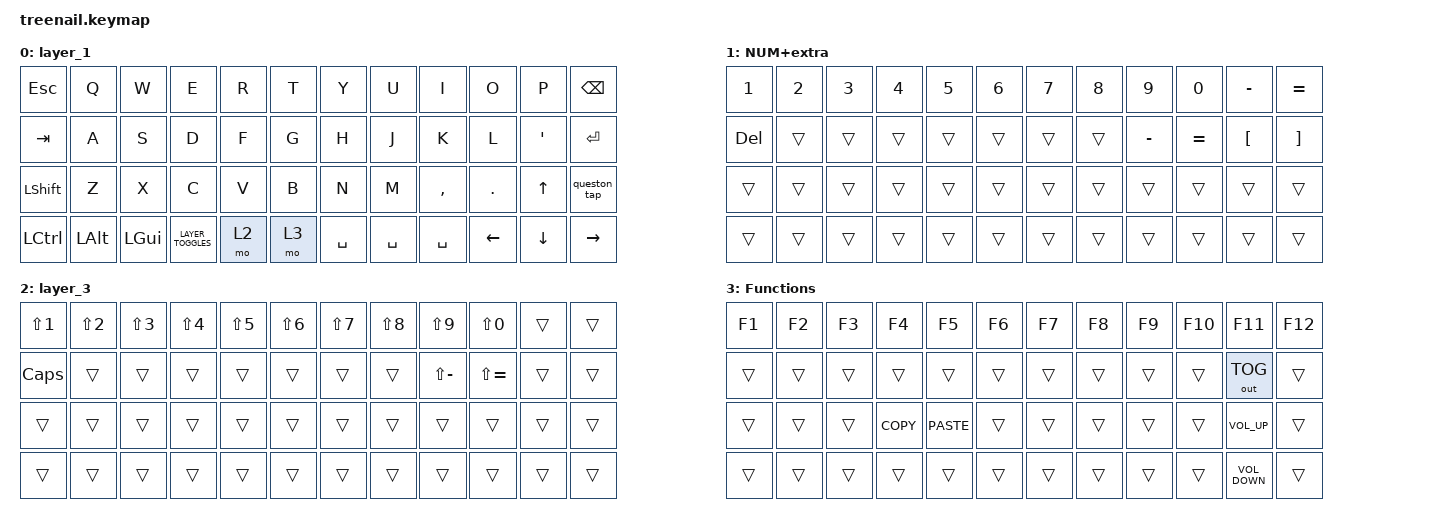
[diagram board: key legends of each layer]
#include <behaviors.dtsi>
#include <dt-bindings/zmk/keys.h>
#include <dt-bindings/zmk/outputs.h>

/ {
    combos {
        compatible = "zmk,combos";

        BOOTLDR {
            bindings = <&bootloader>;
            key-positions = <39 40 41 11>;
        };

        RESET_K {
            bindings = <&sys_reset>;
            key-positions = <39 40 41 23>;
        };

        OFFPWR {
            bindings = <&soft_off>;
            key-positions = <39 40 41 35>;
        };
    };

    behaviors {
        queston_tap: queston_tap {
            compatible = "zmk,behavior-tap-dance";
            label = "QUESTON_TAP";
            #binding-cells = <0>;
            bindings = <&kp SLASH>, <&kp LS(SLASH)>, <&kp RIGHT_SHIFT>;
        };

        LAYER_TOGGLES: LAYER_TOGGLES {
            compatible = "zmk,behavior-tap-dance";
            label = "LAYER_TOGGLES";
            #binding-cells = <0>;
            bindings = <&mo 1>, <&tog 1>;
        };
    };

    keymap {
        compatible = "zmk,keymap";

        layer_1 {
            bindings = <
&kp ESCAPE  &kp Q     &kp W     &kp E           &kp R  &kp T  &kp Y      &kp U      &kp I      &kp O     &kp P     &kp BSPC
&kp TAB     &kp A     &kp S     &kp D           &kp F  &kp G  &kp H      &kp J      &kp K      &kp L     &kp SQT   &kp RET
&kp LSHFT   &kp Z     &kp X     &kp C           &kp V  &kp B  &kp N      &kp M      &kp COMMA  &kp DOT   &kp UP    &queston_tap
&kp LCTRL   &kp LALT  &kp LGUI  &LAYER_TOGGLES  &mo 2  &mo 3  &kp SPACE  &kp SPACE  &kp SPACE  &kp LEFT  &kp DOWN  &kp RIGHT
            >;
        };

        NUM+extra {
            bindings = <
&kp N1      &kp NUMBER_2  &kp N3  &kp N4  &kp N5  &kp N6  &kp N7  &kp N8  &kp N9     &kp N0     &kp MINUS         &kp EQUAL
&kp DELETE  &trans        &trans  &trans  &trans  &trans  &trans  &trans  &kp MINUS  &kp EQUAL  &kp LEFT_BRACKET  &kp RIGHT_BRACKET
&trans      &trans        &trans  &trans  &trans  &trans  &trans  &trans  &trans     &trans     &trans            &trans
&trans      &trans        &trans  &trans  &trans  &trans  &trans  &trans  &trans     &trans     &trans            &trans
            >;
        };

        layer_3 {
            bindings = <
&kp LS(N1)    &kp LS(N2)  &kp LS(N3)  &kp LS(N4)  &kp LS(N5)  &kp LS(N6)  &kp LS(N7)  &kp LS(N8)  &kp LS(N9)     &kp LS(N0)     &trans  &trans
&kp CAPSLOCK  &trans      &trans      &trans      &trans      &trans      &trans      &trans      &kp LS(MINUS)  &kp LS(EQUAL)  &trans  &trans
&trans        &trans      &trans      &trans      &trans      &trans      &trans      &trans      &trans         &trans         &trans  &trans
&trans        &trans      &trans      &trans      &trans      &trans      &trans      &trans      &trans         &trans         &trans  &trans
            >;
        };

        Functions {
            bindings = <
&kp F1  &kp F2  &kp F3  &kp F4      &kp F5       &kp F6  &kp F7  &kp F8  &kp F9  &kp F10  &kp F11            &kp F12
&trans  &trans  &trans  &trans      &trans       &trans  &trans  &trans  &trans  &trans   &out OUT_TOG       &trans
&trans  &trans  &trans  &kp K_COPY  &kp K_PASTE  &trans  &trans  &trans  &trans  &trans   &kp C_VOLUME_UP    &trans
&trans  &trans  &trans  &trans      &trans       &trans  &trans  &trans  &trans  &trans   &kp C_VOLUME_DOWN  &trans
            >;
        };
    };
};

